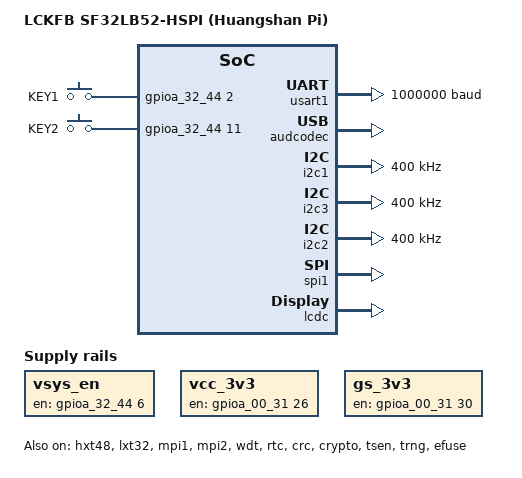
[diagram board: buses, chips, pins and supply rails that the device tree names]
/*
 * Copyright (c) 2025 Core Devices LLC
 * Copyright (c) 2025 SiFli Technologies(Nanjing) Co., Ltd
 * SPDX-License-Identifier: Apache-2.0
 */

/dts-v1/;

#include <sifli/sf32lb52x.dtsi>
#include <sifli/sf32lb52x-ram012.dtsi>
#include <zephyr/dt-bindings/dma/sf32lb52x-dma.h>
#include <zephyr/dt-bindings/gpio/gpio.h>
#include <zephyr/dt-bindings/i2c/i2c.h>
#include <zephyr/dt-bindings/input/input-event-codes.h>
#include <zephyr/dt-bindings/led/led.h>
#include <zephyr/dt-bindings/pwm/pwm.h>

#include "sf32lb52_hspi-pinctrl.dtsi"

/ {
	model = "LCKFB SF32LB52-HSPI (Huangshan Pi)";
	compatible = "sifli,sf32lb52-hspi";

	/*
	 * This initial board file inherits the SF32LB52-DevKit-LCD device tree.
	 * Verify GPIO, display, audio, and storage pin mappings against the
	 * Huangshan Pi schematic before relying on enabled peripherals.
	 */

	chosen {
		zephyr,flash = &py25q128ha;
		zephyr,flash-controller = &mpi2;
		zephyr,code-partition = &code;
		zephyr,console = &usart1;
		zephyr,shell-uart = &usart1;
		zephyr,crc = &crc;
		zephyr,entropy = &trng;
		zephyr,bt-hci = &mailbox;
		zephyr,display = &co5300;
	};

	buttons {
		compatible = "gpio-keys";

		key1: key1 {
			label = "KEY1";
			/*
			 * PA_34 = VBAT via SW1 (active-high when pressed).
			 *
			 * HARDWARE SIDE-EFFECT (netlist verified):
			 * PA_34 also drives Q1 gate → CHG_INT (AW32001 INT pin).
			 * Pressing KEY1 pulls CHG_INT LOW via Q1. Per AW32001E
			 * datasheet, INT LOW can toggle shipping mode (disconnect
			 * battery from system). Short press = normal key; long
			 * press (~seconds) = hardware power-cycle via charger IC.
			 * Do NOT drive PA_34 high for extended periods in firmware.
			 */
			gpios = <&gpioa_32_44 2 GPIO_ACTIVE_HIGH>;
			zephyr,code = <INPUT_KEY_1>;
		};

		key2: key2 {
			label = "KEY2";
			/* SW2 / function key = PA_43 (netlist PA_43_KEY2 -> SW2;
			 * SDK CONFIG_BSP_KEY2_PIN=43). PA_11 is the charger I2C2 SDA.
			 */
			gpios = <&gpioa_32_44 11 GPIO_ACTIVE_HIGH>;
			zephyr,code = <INPUT_KEY_2>;
		};
	};

	/*
	 * LED inventory (schematic / netlist verified):
	 * - LED1: Red 0603 power indicator, hard-wired between VBUS_5V (via R6
	 *   4.7kΩ) and GND. Always on when USB is plugged — NOT GPIO-controllable.
	 * - LED3 (WS2812B-2020): RGB smart LED on PA_32, 1-Wire protocol. Modeled
	 *   as led_strip below (currently disabled).
	 *
	 * There is NO GPIO-controlled LED on PA_26. PA_26 drives the VCC_3V3
	 * load-switch enable (ETA5055V330DS2F U4) — see regulator-vcc3v3 below.
	 */

	aliases {
		codec0 = &audcodec;
		sw0 = &key1;
		sw1 = &key2;
		rtc = &rtc;
		watchdog0 = &wdt;
	};

	psram: psram@60000000 {
		compatible = "zephyr,memory-region";
		reg = <0x60000000 DT_SIZE_M(8)>;
		zephyr,memory-region = "PSRAM";
		zephyr,memory-attr = <(DT_MEM_ARM(ATTR_MPU_RAM))>;
	};

	/*
	 * Power tree (schematic / netlist verified, 2026-06-28):
	 *
	 *   USB_VBUS_5V ── LP5305AQVF (U17, OVP/OCP) ── VBUS_5V
	 *                                                    │
	 *   VBAT_S  ─────────────────────────────────────────┤
	 *                                                    ▼
	 *                    AW32001ECSR (U3, charger, I2C2 PA_10/PA_11)
	 *                    ├─ CHG_INT = U3.B2/Q1.3/R5.1, pulled low via Q1 by PA_34
	 *                    ├─ PA_44 = VBUS_DET divider, not AW32001 INT
	 *                    ▼
	 *                  VSYS_S (VSYS)
	 *                    │
	 *       ┌────────────┼────────────────────┐
	 *       ▼            ▼                    ▼
	 *   NS4150B      SF32LB52              LP5240HVF
	 *   (PA_42)       主控                 (U2, PA_38)
	 *   功放           │                     │
	 *                  └─ LDO3_3V3 / VDD33_VOUT2
	 *                     (module pin 17, net VDD33_VOUT)
	 *                       ├─ R51 0Ω → LED3 WS2812B VDD (data PA_32)
	 *                       └─ R36 5.1Ω → vibrator supply (PWM PA_20)
	 *                                        │
	 *                                        ▼
	 *                                      VSYS_1
	 *                                        │
	 *       ┌────────────────┬───────────────┤
	 *       ▼                ▼               ▼
	 *   屏幕 FPC        ETA5055V330DS2F   ETA5055V330DS2F
	 *   (VSYS_1直供)    (U4, PA_26)       (U15, PA_30)
	 *                       │                 │
	 *                       ▼                 ▼
	 *                   VCC_3V3_S          GS_3V3
	 *                 (TP/SPI/SD卡)      (传感器总线)
	 *
	 * Power-on sequence (SDK bsp_power.c):
	 *   PA_38 (VSYS_1) → PA_26 (VCC_3V3) → PA_30 (GS_3V3)
	 *   Followed by ~500 µs settle before sensor/charger I2C is usable.
	 *
	 * Regulator strategy:
	 *   vsys_en  — regulator-always-on (system rail, never off)
	 *   vcc_3v3  — regulator-always-on (peripheral rail, always on)
	 *   gs_3v3   — regulator-boot-off  (sensor bus, app-managed)
	 * All enable GPIOs are active-high, default-off at reset.
	 * regulator-boot-on requires CONFIG_REGULATOR to auto-enable at boot.
	 */
	vsys_en: regulator-vsys {
		compatible = "regulator-fixed";
		regulator-name = "vsys-en";
		/* PA_38 → LP5240HVF (U2) EN. System VSYS_1 rail — never turn off. */
		enable-gpios = <&gpioa_32_44 6 GPIO_ACTIVE_HIGH>;
		regulator-boot-on;
	};

	vcc_3v3: regulator-vcc3v3 {
		compatible = "regulator-fixed";
		regulator-name = "vcc-3v3";
		/* PA_26 → ETA5055V330DS2F (U4) EN. Powers VCC_3V3_S rail:
		 * touch-panel I2C1 pull-ups, SPI1/SD-card VDD, etc.
		 * regulator-always-on: fundamental peripheral rail, always on.
		 */
		enable-gpios = <&gpioa_00_31 26 GPIO_ACTIVE_HIGH>;
		regulator-always-on;
	};

	gs_3v3: regulator-gs3v3 {
		compatible = "regulator-fixed";
		regulator-name = "gs-3v3";
		/* PA_30 → ETA5055V330DS2F (U15) EN. Powers the sensor bus
		 * (I2C3: LSM6DS3TR-C, MMC5603NJ, LTR-303ALS-01).
		 * regulator-boot-off: default off. Application must call
		 *   regulator_enable(DEVICE_DT_GET(DT_NODELABEL(gs_3v3)));
		 * then wait ~500 µs before accessing sensors on I2C3.
		 * Sensor drivers (lsm6dsl/mmc56x3/ltr329) do not have
		 * built-in vin-supply support, so regulator management is
		 * explicit at the application level.
		 */
		enable-gpios = <&gpioa_00_31 30 GPIO_ACTIVE_HIGH>;
		regulator-boot-off;
	};

	/*
	 * On-board WS2812B-2020 RGB smart LED (LED3) on PA_32.
	 * LED3 VDD is VDD33_VOUT from SF32LB52 LDO3_3V3 via R51.
	 * 1-Wire protocol (NZR), bit-bang GPIO driver.
	 * Reset-delay / timing are placeholders; tune on bring-up.
	 * Disabled until brought up.
	 */
	led_strip: led-strip {
		compatible = "worldsemi,ws2812-gpio";
		gpios = <&gpioa_32_44 0 GPIO_ACTIVE_HIGH>;
		chain-length = <1>;
		color-mapping = <LED_COLOR_ID_GREEN
				 LED_COLOR_ID_RED
				 LED_COLOR_ID_BLUE>;
		reset-delay = <280>;
		status = "disabled";
	};

	/*
	 * Vibrator motor:
	 *   - supply: VDD33_VOUT from SF32LB52 LDO3_3V3 via R36
	 *   - control: PA_20_VIB_PWM, routed as GPTIM2 CH1
	 *
	 * Keep disabled by default to avoid unintended vibration at boot. Enable
	 * this node together with &gptim2 / &gptim2_pwm during vibrator bring-up.
	 */
	pwm_vibrator: pwm-vibrator {
		compatible = "pwm-leds";
		status = "disabled";

		vibrator: vibrator {
			label = "VIBRATOR";
			pwms = <&gptim2_pwm 0 PWM_MSEC(5) PWM_POLARITY_NORMAL>;
		};
	};
};

&cpu0 {
	clock-frequency = <DT_FREQ_M(240)>;
};

&hxt48 {
	status = "okay";
};

&lxt32 {
	status = "okay";
};

&rcc_clk {
	status = "okay";

	sifli,hdiv = <1>;
	sifli,pdiv1 = <1>;
	sifli,pdiv2 = <6>;
	sifli,sys-clk-src = "dll1";
	sifli,mpi1-clk-src = "dll2";

	dll1 {
		status = "okay";
		clock-frequency = <DT_FREQ_M(240)>;
	};

	dll2 {
		status = "okay";
		clock-frequency = <DT_FREQ_M(288)>;
	};
};

&rcc_rst {
	status = "okay";
};

&gpioa_00_31 {
	status = "okay";
};

&gpioa_32_44 {
	status = "okay";
};

&dmac {
	status = "okay";
};

&ldo1_1v8 {
	regulator-boot-on;
	status = "okay";
};

&ldo3_3v3 {
	/*
	 * SF32LB52 internal 3.3 V LDO output:
	 *   LDO3_3V3 / VDD33_VOUT2 (module pin 17) -> board net VDD33_VOUT.
	 * It powers LED3 (WS2812B) and the vibrator motor supply path.
	 */
	regulator-name = "vdd33-vout";
	regulator-boot-on;
	status = "okay";
};

&mpi1 {
	compatible = "sifli,sf32lb-mpi-opi-psram";
	/* SF32LB525UC6 has 8MB internal OPI PSRAM */
	reg = <0x50041000 0x1000>, <0x60000000 DT_SIZE_M(8)>;
	reg-names = "ctrl", "psram";
	pinctrl-0 = <&mpi1_default>;
	pinctrl-names = "default";
	power-supply = <&ldo1_1v8>;
	status = "okay";
};

&mpi2 {
	compatible = "sifli,sf32lb-mpi-qspi-nor";
	dmas = <&dmac 0 SF32LB52X_DMA_REQ_MPI2 SF32LB_DMA_PL_MEDIUM>;
	sifli,psclr = <0>;
	sifli,lines = <4>;
	status = "okay";

	py25q128ha: flash@0 {
		compatible = "puya,py25q128ha", "jedec,qspi-nor";
		reg = <0x0>;
		size = <DT_SIZE_M(128)>;
		quad-enable-requirements = "S2B1v1";

		partitions {
			compatible = "fixed-partitions";
			#address-cells = <1>;
			#size-cells = <1>;

			ptable: partition@0 {
				label = "ptable";
				reg = <0x0 DT_SIZE_K(64)>;
			};

			code: partition@10000 {
				label = "code";
				reg = <0x10000 DT_SIZE_K(16320)>;
			};
		};
	};
};

&pinctrl {
	status = "okay";
};

&usart1 {
	status = "okay";
	current-speed = <1000000>;
	pinctrl-0 = <&usart1_default>;
	pinctrl-names = "default";
};

&audcodec {
	dmas = <&dmac 1 SF32LB52X_DMA_REQ_AUDAC_CH0 SF32LB_DMA_PL_HIGH>,
	       <&dmac 4 SF32LB52X_DMA_REQ_AUDADC_CH0 SF32LB_DMA_PL_HIGH>;
	dma-names = "tx", "rx";
	/* Class-D PA enable = PA_42 (netlist PA_42 -> U6; SDK
	 * CONFIG_AW8155_GPIO_PIN=42, active high). PA_10 is the charger I2C2 SCL.
	 */
	pa-power-gpios = <&gpioa_32_44 10 GPIO_ACTIVE_HIGH>;
	status = "okay";
};

&wdt {
	status = "okay";
};

&rtc {
	status = "okay";
};

&gptim2 {
	/*
	 * PA_20_VIB_PWM = GPTIM2 CH1. The PWM controller is described here but
	 * remains disabled until the vibrator function is intentionally enabled.
	 */
	gptim2_pwm: pwm {
		pinctrl-0 = <&vib_pwm_default>;
		pinctrl-names = "default";
		status = "disabled";
	};
};

&i2c1 {
	status = "okay";
	pinctrl-0 = <&i2c1_default>;
	pinctrl-names = "default";
	clock-frequency = <I2C_BITRATE_FAST>;

	ft6146: ft6146@38 {
		/* Capacitive touch panel (FT6146) on the LCD FPC. INT PA_41,
		 * RST PA_09 per the screen netlist. Disabled until brought up.
		 */
		compatible = "focaltech,ft6146";
		reg = <0x38>;
		int-gpios = <&gpioa_32_44 9 GPIO_ACTIVE_LOW>;
		reset-gpios = <&gpioa_00_31 9 GPIO_ACTIVE_LOW>;
		status = "disabled";
	};
};

&i2c3 {
	/* On-board sensor bus: LSM6DS3TR-C IMU, MMC5603NJ magnetometer,
	 * LTR-303ALS-01 ambient light. Powered by the GS_3V3 rail (PA_30).
	 */
	status = "okay";
	pinctrl-0 = <&i2c3_default>;
	pinctrl-names = "default";
	clock-frequency = <I2C_BITRATE_FAST>;

	lsm6dsl: lsm6dsl@6a {
		/* LSM6DS3TR-C (U13) is register-compatible with LSM6DSL
		 * (WHO_AM_I 0x6A). SA0 is tied low -> I2C address 0x6A.
		 * Disabled until brought up (enable with the lsm6dsl driver).
		 */
		compatible = "st,lsm6dsl";
		reg = <0x6a>;
		irq-gpios = <&gpioa_00_31 31 GPIO_ACTIVE_HIGH>;
		status = "disabled";
	};

	mmc56x3: mmc56x3@30 {
		/* MMC5603NJ (U14), fixed I2C address 0x30. Disabled until brought up. */
		compatible = "memsic,mmc56x3";
		reg = <0x30>;
		status = "disabled";
	};

	ltr303: ltr303@29 {
		/* LTR-303ALS-01 (U16), I2C address 0x29. No dedicated upstream
		 * Zephyr driver; liteon,ltr329 is register-similar but unverified,
		 * so this node is left disabled until a driver is confirmed.
		 */
		compatible = "liteon,ltr329";
		reg = <0x29>;
		status = "disabled";
	};
};

&i2c2 {
	/* Charger control bus (net I2C2): SCL PA_10, SDA PA_11. With the audio PA
	 * moved to PA_42 and KEY2 to PA_43, these pins are now free, so the bus is
	 * enabled; the charger child stays disabled until its driver is brought up.
	 */
	status = "okay";
	pinctrl-0 = <&i2c2_default>;
	pinctrl-names = "default";
	clock-frequency = <I2C_BITRATE_FAST>;

	charger: charger@49 {
		/* AW32001 (U3) linear charger, address 0x49 (netlist + SDK confirmed).
		 * Placeholder compatible - no upstream Zephyr driver yet.
		 * AW32001 INT is net CHG_INT (U3.B2/Q1.3/R5.1) and is not directly
		 * connected to an MCU GPIO. PA_34 can pull CHG_INT low through Q1;
		 * PA_44 is a separate VBUS_DET divider and must not be modeled as
		 * charger int-gpios.
		 */
		compatible = "awinic,aw32001";
		reg = <0x49>;
		status = "disabled";
	};
};

&crc {
	status = "okay";
};

&crypto {
	status = "okay";
};

temp_sensor: &tsen {
	status = "okay";
};

&trng {
	status = "okay";
};

&mailbox {
	status = "okay";
};

&spi1 {
	status = "okay";
	pinctrl-0 = <&spi1_default>;
	pinctrl-names = "default";
};

&efuse {
	status = "okay";
};

&lcdc {
	status = "okay";

	mipi_dbi: mipi-dbi {
		status = "okay";
		#address-cells = <1>;
		#size-cells = <0>;
		pinctrl-0 = <&lcdc_qspi_default>;
		pinctrl-names = "default";

		co5300: display@0 {
			compatible = "chipone,co5300-qspi";
			reg = <0>;
			reset-gpios = <&gpioa_00_31 0 GPIO_ACTIVE_LOW>;
			/*
			 * No host AVDD-enable GPIO on the Huangshan Pi: PA_37
			 * (the inherited DevKit-LCD avdd pin) is the touch-panel
			 * I2C1 SCL here, and the AMOLED AVDD is generated by the
			 * screen's own power IC from VCC_3V3.
			 */
			width = <390>;
			height = <450>;
			mipi-max-frequency = <50000000>;
			mipi-mode = "MIPI_DBI_MODE_QSPI";
		};
	};
};
